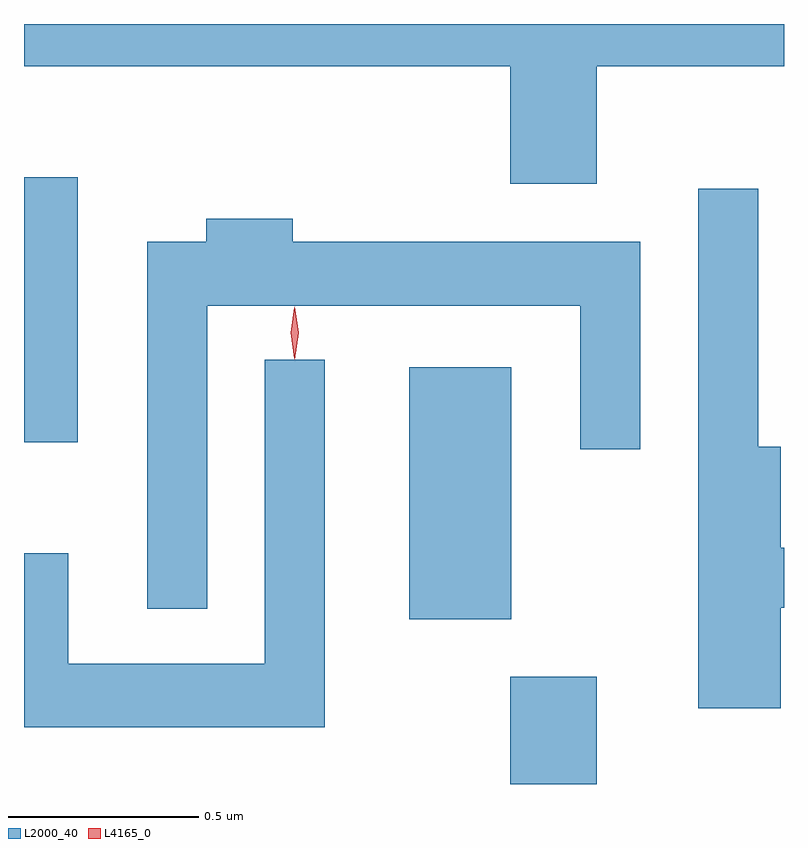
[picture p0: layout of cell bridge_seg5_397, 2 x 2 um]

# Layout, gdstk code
import gdstk
lib = gdstk.Library(unit=1e-6, precision=1e-09)
def R(c, l, rs):  # rectangles x0, y0, x1, y1
    for r in rs: c.add(gdstk.rectangle(r[:2], r[2:], *l))
def P(c, l, *ps):  # polygons
    for p in ps: c.add(gdstk.Polygon(p, *l))
L2000_40 = (2000, 40)
L4165_0 = (4165, 0)

bridge_seg5_397 = lib.new_cell('bridge_seg5_397')
R(bridge_seg5_397, L2000_40, [(573.681,1523.727,573.909,1524.009), (573.416,1524.161,573.684,1524.824), (572.402,1524.626,572.544,1525.324)])
P(bridge_seg5_397, L2000_40, [(573.909,1525.616),(574.402,1525.616),(574.402,1525.727),(572.402,1525.727),(572.402,1525.616),(573.681,1525.616),(573.681,1525.306),(573.909,1525.306)],
  [(574.394,1524.191),(574.402,1524.191),(574.402,1524.349),(574.394,1524.349),(574.394,1524.614),(574.334,1524.614),(574.334,1525.293),(574.176,1525.293),(574.176,1523.926),(574.394,1523.926)],
  [(572.884,1524.986),(573.866,1524.986),(573.866,1524.608),(574.024,1524.608),(574.024,1525.154),(573.109,1525.154),(573.109,1525.214),(572.881,1525.214),(572.881,1525.154),(572.726,1525.154),(572.726,1524.188),(572.884,1524.188)],
  [(573.194,1524.843),(573.036,1524.843),(573.036,1524.044),(572.519,1524.044),(572.519,1524.334),(572.402,1524.334),(572.402,1523.876),(573.194,1523.876)])
P(bridge_seg5_397, L4165_0, [(573.114,1524.847),(573.113,1524.848),(573.104,1524.914),(573.113,1524.98),(573.114,1524.981),(573.114,1524.98),(573.124,1524.914),(573.114,1524.848)],
  [(573.114,1524.844),(573.105,1524.914),(573.114,1524.983),(573.115,1524.983),(573.115,1524.983),(573.125,1524.914),(573.115,1524.844),(573.115,1524.844)])

lib.write_gds('bridge_seg5_397.gds')
